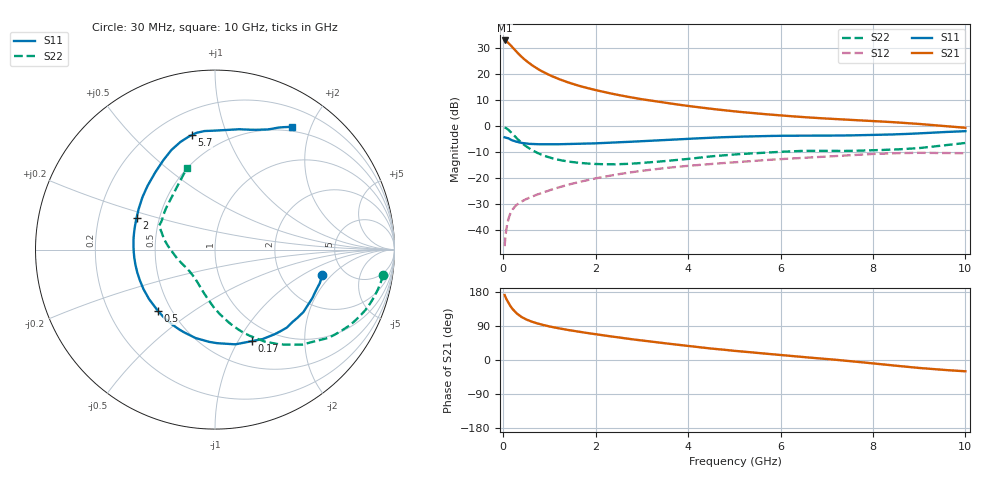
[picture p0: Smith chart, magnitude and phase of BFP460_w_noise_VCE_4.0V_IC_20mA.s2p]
! (c) 2016  Infineon Technologies AG, Munich
! Infineon Technologies  Discrete & RF Semiconductors
! BFP460
! VCE =  4.0 V,  IC =  20 mA
! Common Emitter S-Parameters:  Jan 2016
# GHz  S  MA  R  50
!  f  S11  S21  S12  S22
! GHz  MAG  ANG  MAG  ANG  MAG  ANG  MAG  ANG
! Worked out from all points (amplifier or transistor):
!   229 points, 30 MHz to 10 GHz, reference 50 ohm
!   highest |S21| = 33.0 dB at 30 MHz (marker M1)
!   |S21| within 3 dB of that: start of sweep to 219.5 MHz
!   unconditionally stable (mu >= 1): 1.817 GHz to 7.646 GHz
!   at 280 MHz: K = 0.42, MSG = 29.6 dB, |S12| = -30.3 dB
!   at 1.78 GHz: K = 1.00, MSG = 17.8 dB, |S12| = -20.8 dB
!   at 10 GHz: K = 0.97, MSG = 4.9 dB, |S12| = -10.3 dB
!   lowest NFmin = 1.24 dB at 450 MHz
!   S11 on the Smith chart (normalised r, x): 30 MHz: 3.42, -1.57; 170 MHz: 0.78, -1.14; 500 MHz: 0.42, -0.37; 2 GHz: 0.37, +0.17; 5.7 GHz: 0.34, +0.76; 10 GHz: 0.44, +1.72
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0.03  0.6151 -13.4  44.49 171.3  0.005 81.0  0.947 -8.5
0.07  0.6023 -31.5  42.61 160.6  0.0109 75.1  0.9143 -19.3
0.09  0.5961 -39.6  41.26 156.0  0.0136 72.9  0.889 -24.5
0.14  0.5689 -58.7  37.58 145.3  0.0197 66.1  0.8132 -36.1
0.17  0.5496 -68.2  35.09 140.1  0.0224 63.0  0.7628 -41.7
0.2  0.5398 -77.9  32.92 134.8  0.0251 60.6  0.7173 -47.6
0.24  0.5216 -88.6  30.07 129.3  0.028 57.9  0.658 -53.6
0.3  0.5046 -102.3  26.35 122.1  0.0316 54.8  0.5807 -61.8
0.4  0.4808 -119.9  21.49 113.3  0.0362 52.7  0.4812 -71.9
0.5  0.4666 -132.9  17.97 106.9  0.0402 52.1  0.4103 -79.6
0.6  0.4595 -143.1  15.37 101.9  0.0439 52.2  0.359 -85.9
0.7  0.4552 -151.2  13.4 97.8  0.0476 52.6  0.3208 -91.3
1  0.4515 -168.7  9.638 88.5  0.0592 54.1  0.2522 -103.7
1.3  0.4543 178.9  7.505 81.4  0.0712 54.8  0.2187 -113.3
1.7  0.4623 166.2  5.797 73.5  0.0877 54.4  0.1967 -123.8
2  0.4714 158.0  4.954 68.0  0.1001 53.2  0.1891 -131.1
3.4  0.5378 129.4  2.919 45.6  0.1543 43.9  0.2112 -164.0
5.1  0.6326 106.9  1.899 23.2  0.2071 31.8  0.292 167.6
5.7  0.6508 101.5  1.701 16.5  0.2257 27.6  0.3126 162.2
6.8  0.6623 92.2  1.443 4.7  0.2567 19.9  0.3377 155.9
8.4  0.6968 73.4  1.206 -13.9  0.3033 6.0  0.3567 140.0
10  0.8066 58.0  0.937 -29.8  0.3049 -6.5  0.4786 109.2
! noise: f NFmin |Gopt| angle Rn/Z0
0.45  1.24  0.07  -176  0.13
0.9  1.26  0.04  175  0.15
1.9  1.38  0.18  -150  0.12
3.5  1.34  0.41  -125  0.15
